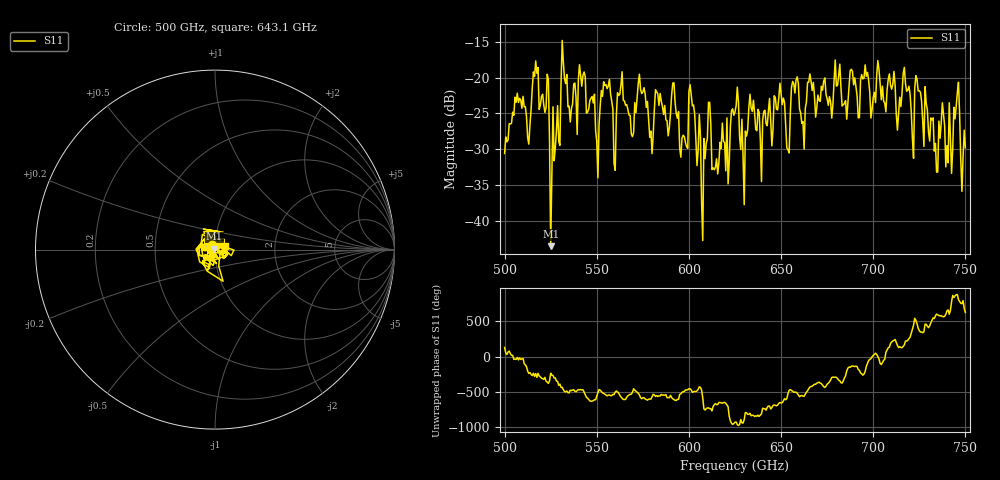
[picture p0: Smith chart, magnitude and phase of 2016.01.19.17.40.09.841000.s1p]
!Created with skrf (http://scikit-rf.org).
# GHz S RI R 50.0
!freq ReS11 ImS11
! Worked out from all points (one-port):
!   401 points, 500 GHz to 750 GHz, reference 50 ohm
!   lowest |S11| = -43.6 dB at 525 GHz (marker M1), VSWR 1.01, Z = 49.6 + j0.546 ohm
!   |S11| at or under -10 dB: start of sweep to end of sweep
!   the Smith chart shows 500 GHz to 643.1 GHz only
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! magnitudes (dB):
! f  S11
! 500 GHz  -30.6
! 506.9 GHz  -22.2
! 513.1 GHz  -29.3
! 516.9 GHz  -17.7
! 525 GHz  -43.6
! 531.2 GHz  -14.8
! 541.9 GHz  -21.2
! 550.6 GHz  -34.0
! 553.8 GHz  -20.6
! 559.4 GHz  -32.0
! 562.5 GHz  -22.3
! 593.8 GHz  -25.7
! 598.1 GHz  -29.1
! 601.2 GHz  -22.4
! 608.1 GHz  -28.5
! 610.6 GHz  -23.5
! 614.4 GHz  -32.5
! 625 GHz  -24.8
! 628.8 GHz  -25.8
! 633.8 GHz  -24.2
! 650.6 GHz  -23.8
! 653.8 GHz  -30.1
! 656.2 GHz  -20.5
! 687.5 GHz  -19.0
! 718.8 GHz  -21.8
! 734.4 GHz  -33.2
! 745 GHz  -24.0
! 750 GHz  -29.8
